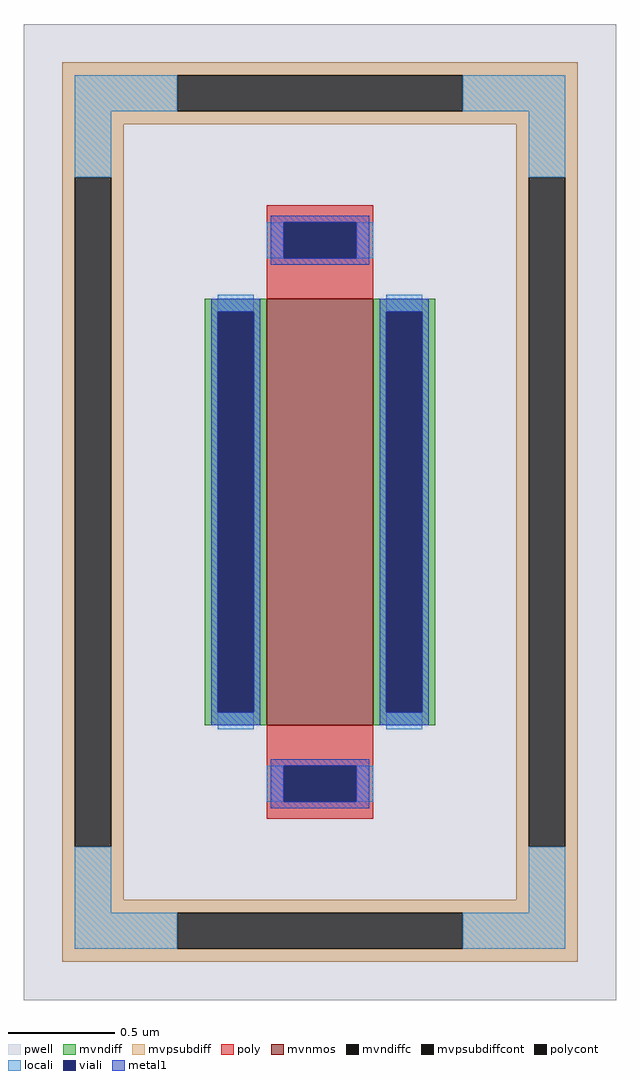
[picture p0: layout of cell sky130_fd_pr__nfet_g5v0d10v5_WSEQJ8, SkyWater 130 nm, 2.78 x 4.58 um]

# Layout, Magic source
magic
tech sky130A
<< pwell >>
rect -139 -229 139 229
<< mvnmos >>
rect -25 -100 25 100
<< mvndiff >>
rect -54 94 -25 100
rect -54 -94 -48 94
rect -31 -94 -25 94
rect -54 -100 -25 -94
rect 25 94 54 100
rect 25 -94 31 94
rect 48 -94 54 94
rect 25 -100 54 -94
<< mvndiffc >>
rect -48 -94 -31 94
rect 31 -94 48 94
<< mvpsubdiff >>
rect -121 205 121 211
rect -121 188 -67 205
rect 67 188 121 205
rect -121 182 121 188
rect -121 157 -92 182
rect -121 -157 -115 157
rect -98 -157 -92 157
rect 92 157 121 182
rect -121 -182 -92 -157
rect 92 -157 98 157
rect 115 -157 121 157
rect 92 -182 121 -157
rect -121 -188 121 -182
rect -121 -205 -67 -188
rect 67 -205 121 -188
rect -121 -211 121 -205
<< mvpsubdiffcont >>
rect -67 188 67 205
rect -115 -157 -98 157
rect 98 -157 115 157
rect -67 -205 67 -188
<< poly >>
rect -25 136 25 144
rect -25 119 -17 136
rect 17 119 25 136
rect -25 100 25 119
rect -25 -119 25 -100
rect -25 -136 -17 -119
rect 17 -136 25 -119
rect -25 -144 25 -136
<< polycont >>
rect -17 119 17 136
rect -17 -136 17 -119
<< locali >>
rect -115 188 -67 205
rect 67 188 115 205
rect -115 157 -98 188
rect 98 157 115 188
rect -25 119 -17 136
rect 17 119 25 136
rect -48 94 -31 102
rect -48 -102 -31 -94
rect 31 94 48 102
rect 31 -102 48 -94
rect -25 -136 -17 -119
rect 17 -136 25 -119
rect -115 -188 -98 -157
rect 98 -188 115 -157
rect -115 -205 -67 -188
rect 67 -205 115 -188
<< viali >>
rect -17 119 17 136
rect -48 -94 -31 94
rect 31 -94 48 94
rect -17 -136 17 -119
<< metal1 >>
rect -23 136 23 139
rect -23 119 -17 136
rect 17 119 23 136
rect -23 116 23 119
rect -51 94 -28 100
rect -51 -94 -48 94
rect -31 -94 -28 94
rect -51 -100 -28 -94
rect 28 94 51 100
rect 28 -94 31 94
rect 48 -94 51 94
rect 28 -100 51 -94
rect -23 -119 23 -116
rect -23 -136 -17 -119
rect 17 -136 23 -119
rect -23 -139 23 -136
<< properties >>
string FIXED_BBOX -106 -196 106 196
string gencell sky130_fd_pr__nfet_g5v0d10v5
string library sky130
string parameters w 2.0 l 0.5 m 1 nf 1 diffcov 100 polycov 100 guard 1 glc 1 grc 1 gtc 1 gbc 1 tbcov 100 rlcov 100 topc 1 botc 1 poverlap 0 doverlap 1 lmin 0.50 wmin 0.42 compatible {sky130_fd_pr__nfet_01v8 sky130_fd_pr__nfet_01v8_lvt  sky130_fd_bs_flash__special_sonosfet_star  sky130_fd_pr__nfet_g5v0d10v5 sky130_fd_pr__nfet_05v0_nvt  sky130_fd_pr__nfet_03v3_nvt} full_metal 1 viasrc 100 viadrn 100 viagate 100 viagb 0 viagr 0 viagl 0 viagt 0
<< end >>
